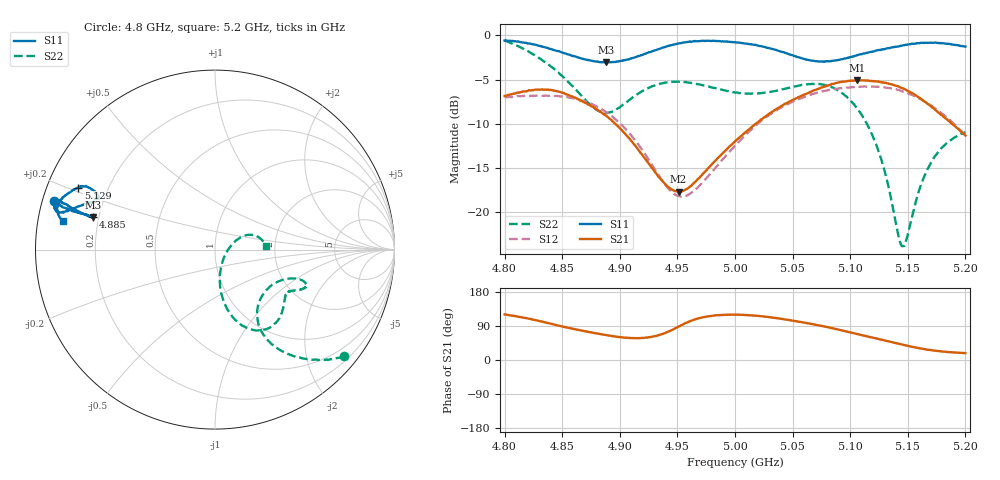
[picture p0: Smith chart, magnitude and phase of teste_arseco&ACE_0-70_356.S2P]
! Network Analyzer HP8722D
! Hewlett-Packard
! Data name: Linha & Wilkinson
! Saver's name: Rodrigo Anjos
! Comments: Teste da utilização de aquisição
! continua pelo VNA HP8722D
! Time and date: 8/5/2025 15:43
!  Frequency  S11  S21  S12  S22
# HZ  S  MA R 50
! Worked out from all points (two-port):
!   401 points, 4.8 GHz to 5.2 GHz, reference 50 ohm
!   highest |S21| = -5.06 dB at 5.106 GHz (marker M1); lowest = -17.7 dB at 4.951 GHz (marker M2)
!   |S21| within 3 dB of the highest: start of sweep to 4.876 GHz; 5.039 GHz to 5.17 GHz (130.9 MHz wide, 2.56 % of centre)
!   lowest |S11| = -3.1 dB at 4.888 GHz (marker M3), VSWR 5.75, Z = 8.83 + j6.31 ohm
!   |S11| at or under -10 dB: nowhere
!   |S22| runs from -23.9 to -0.6 dB; largest |S21 - S12| = 0.73
!   S11 on the Smith chart (normalised r, x): 4.8 GHz: 0.03, +0.15; 4.885 GHz: 0.18, +0.13; 5.129 GHz: 0.09, +0.21; 5.2 GHz: 0.07, +0.09
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4.8e9  0.9366 163.0  0.4544 120.2  0.4449 15.5  0.933 -39.6
4.831e9  0.8695 164.5  0.4932 102.2  0.456 5.6  0.7378 -53.6
4.867e9  0.7391 164.9  0.4258 77.4  0.428 -10.1  0.4538 -58.5
4.885e9  0.7055 164.9  0.363 67.3  0.3788 -20.4  0.3663 -43.3
4.888e9  0.7039 165.2  0.3519 65.9  0.3681 -22.4  0.3635 -39.6
4.907e9  0.7306 165.2  0.2669 58.5  0.2855 -31.7  0.4253 -22.9
4.934e9  0.8391 163.6  0.1573 65.7  0.1611 -29.3  0.5296 -19.8
4.951e9  0.9008 162.7  0.1305 88.0  0.1232 -6.3  0.5473 -22.1
4.966e9  0.9267 162.8  0.1493 108.0  0.1346 17.1  0.5326 -24.4
5e9  0.9153 166.0  0.2509 119.4  0.2374 37.5  0.4744 -29.2
5.034e9  0.834 164.3  0.3757 111.2  0.3704 32.2  0.4835 -37.0
5.067e9  0.7204 157.5  0.4842 94.9  0.4654 17.1  0.532 -51.9
5.087e9  0.7213 155.0  0.5362 82.0  0.4976 5.8  0.4991 -64.1
5.106e9  0.7723 153.8  0.5583 68.6  0.5116 -5.7  0.3857 -75.5
5.119e9  0.8088 154.2  0.5512 59.4  0.5127 -13.9  0.2747 -81.0
5.129e9  0.8369 155.6  0.542 52.3  0.5085 -20.6  0.1793 -81.5
5.134e9  0.8475 156.5  0.5315 48.8  0.5035 -23.9  0.1326 -77.4
5.142e9  0.8665 158.1  0.5146 43.0  0.491 -29.1  0.07265 -51.8
5.146e9  0.8798 159.3  0.5007 40.1  0.4799 -31.8  0.0642 -23.5
5.161e9  0.907 162.6  0.4396 30.6  0.4358 -40.8  0.14 24.7
5.17e9  0.9093 164.5  0.3975 26.1  0.4023 -45.4  0.19 24.8
5.2e9  0.8642 169.3  0.2712 18.2  0.272 -54.1  0.2832 4.2
